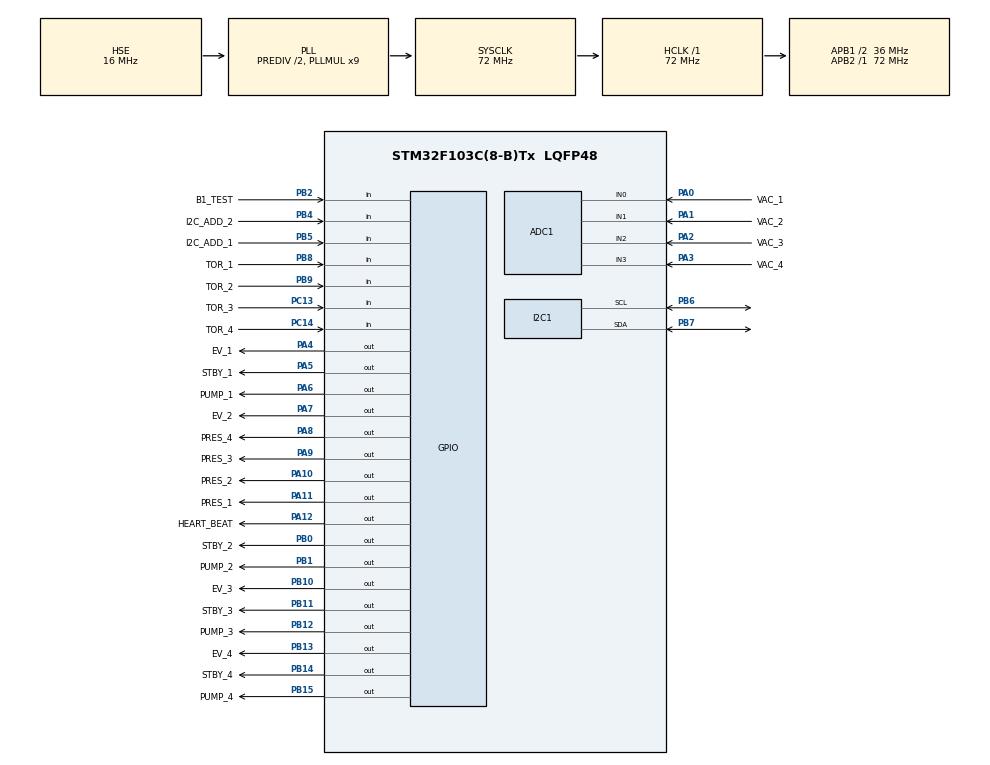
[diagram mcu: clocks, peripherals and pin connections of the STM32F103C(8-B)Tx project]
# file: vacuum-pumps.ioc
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ADC1.Channel-0\#ChannelRegularConversion=ADC_CHANNEL_0
ADC1.NbrOfConversionFlag=1
ADC1.Rank-0\#ChannelRegularConversion=1
ADC1.SamplingTime-0\#ChannelRegularConversion=ADC_SAMPLETIME_1CYCLE_5
ADC1.master=1
Dma.I2C1_RX.0.Direction=DMA_PERIPH_TO_MEMORY
Dma.I2C1_RX.0.Instance=DMA1_Channel7
Dma.I2C1_RX.0.MemDataAlignment=DMA_MDATAALIGN_BYTE
Dma.I2C1_RX.0.MemInc=DMA_MINC_ENABLE
Dma.I2C1_RX.0.Mode=DMA_NORMAL
Dma.I2C1_RX.0.PeriphDataAlignment=DMA_PDATAALIGN_BYTE
Dma.I2C1_RX.0.PeriphInc=DMA_PINC_DISABLE
Dma.I2C1_RX.0.Priority=DMA_PRIORITY_HIGH
Dma.I2C1_TX.1.Direction=DMA_MEMORY_TO_PERIPH
Dma.I2C1_TX.1.Instance=DMA1_Channel6
Dma.I2C1_TX.1.MemDataAlignment=DMA_MDATAALIGN_BYTE
Dma.I2C1_TX.1.MemInc=DMA_MINC_ENABLE
Dma.I2C1_TX.1.Mode=DMA_NORMAL
Dma.I2C1_TX.1.PeriphDataAlignment=DMA_PDATAALIGN_BYTE
Dma.I2C1_TX.1.PeriphInc=DMA_PINC_DISABLE
Dma.I2C1_TX.1.Priority=DMA_PRIORITY_HIGH
Dma.Request0=I2C1_RX
Dma.Request1=I2C1_TX
FREERTOS.Tasks01=mainTask,24,256,StartMainTask,Default,NULL,Dynamic,NULL,NULL
FREERTOS.Timers01=heartBeatTimer,heartBeatCallback,osTimerPeriodic,Default,NULL,Dynamic,NULL;ledIhmTimer,ledIhmCallback,osTimerPeriodic,Default,NULL,Dynamic,NULL
FREERTOS.configTIMER_TASK_PRIORITY=8
FREERTOS.configUSE_NEWLIB_REENTRANT=1
I2C1.DutyCycle=I2C_DUTYCYCLE_16_9
I2C1.I2C_Mode=I2C_Fast
I2C1.OwnAddress=i2cSlaveAddress
Mcu.Family=STM32F1
Mcu.Name=STM32F103C(8-B)Tx
Mcu.Package=LQFP48
Mcu.UserConstants=I2C_SLAVE_ADDRESS_BASE,0x26
NVIC.DMA1_Channel6_IRQn=true\:0\:0\:true\:false\:true\:false\:false\:true\:true
NVIC.DMA1_Channel7_IRQn=true\:0\:0\:true\:false\:true\:false\:false\:true\:true
NVIC.I2C1_ER_IRQn=true\:0\:0\:true\:false\:true\:false\:true\:true\:true
NVIC.I2C1_EV_IRQn=true\:0\:0\:true\:false\:true\:false\:true\:true\:true
NVIC.PriorityGroup=NVIC_PRIORITYGROUP_4
NVIC.TIM1_UP_IRQn=true\:0\:0\:false\:false\:true\:false\:false\:true\:true
NVIC.TimeBase=TIM1_UP_IRQn
NVIC.TimeBaseIP=TIM1
PA0-WKUP.GPIO_Label=VAC_1
PA0-WKUP.Signal=ADCx_IN0
PA1.GPIO_Label=VAC_2
PA1.Signal=ADCx_IN1
PA10.GPIO_Label=PRES_2
PA10.Signal=GPIO_Output
PA11.GPIO_Label=PRES_1
PA11.Signal=GPIO_Output
PA12.GPIO_Label=HEART_BEAT
PA12.Signal=GPIO_Output
PA13.Mode=Trace_Asynchronous_SW
PA13.Signal=SYS_JTMS-SWDIO
PA14.Mode=Trace_Asynchronous_SW
PA14.Signal=SYS_JTCK-SWCLK
PA2.GPIO_Label=VAC_3
PA2.Signal=ADCx_IN2
PA3.GPIO_Label=VAC_4
PA3.Signal=ADCx_IN3
PA4.GPIO_Label=EV_1
PA4.Signal=GPIO_Output
PA5.GPIO_Label=STBY_1
PA5.Signal=GPIO_Output
PA6.GPIO_Label=PUMP_1
PA6.Signal=GPIO_Output
PA7.GPIO_Label=EV_2
PA7.Signal=GPIO_Output
PA8.GPIO_Label=PRES_4
PA8.Signal=GPIO_Output
PA9.GPIO_Label=PRES_3
PA9.Signal=GPIO_Output
PB0.GPIO_Label=STBY_2
PB0.Signal=GPIO_Output
PB1.GPIO_Label=PUMP_2
PB1.Signal=GPIO_Output
PB10.GPIO_Label=EV_3
PB10.Signal=GPIO_Output
PB11.GPIO_Label=STBY_3
PB11.Signal=GPIO_Output
PB12.GPIO_Label=PUMP_3
PB12.Signal=GPIO_Output
PB13.GPIO_Label=EV_4
PB13.Signal=GPIO_Output
PB14.GPIO_Label=STBY_4
PB14.Signal=GPIO_Output
PB15.GPIO_Label=PUMP_4
PB15.Signal=GPIO_Output
PB2.GPIO_Label=B1_TEST
PB2.Signal=GPIO_Input
PB3.Mode=Trace_Asynchronous_SW
PB3.Signal=SYS_JTDO-TRACESWO
PB4.GPIO_Label=I2C_ADD_2
PB4.Signal=GPIO_Input
PB5.GPIO_Label=I2C_ADD_1
PB5.Signal=GPIO_Input
PB6.GPIO_Pu=GPIO_PULLUP
PB6.Mode=I2C
PB6.Signal=I2C1_SCL
PB7.GPIO_Pu=GPIO_PULLUP
PB7.Mode=I2C
PB7.Signal=I2C1_SDA
PB8.GPIO_Label=TOR_1
PB8.Signal=GPIO_Input
PB9.GPIO_Label=TOR_2
PB9.Signal=GPIO_Input
PC13-TAMPER-RTC.GPIO_Label=TOR_3
PC13-TAMPER-RTC.Signal=GPIO_Input
PC14-OSC32_IN.GPIO_Label=TOR_4
PC14-OSC32_IN.Signal=GPIO_Input
PD0-OSC_IN.Mode=HSE-External-Oscillator
PD0-OSC_IN.Signal=RCC_OSC_IN
PD1-OSC_OUT.Mode=HSE-External-Oscillator
PD1-OSC_OUT.Signal=RCC_OSC_OUT
ProjectManager.HeapSize=0x200
ProjectManager.StackSize=0x400
ProjectManager.TargetToolchain=STM32CubeIDE
RCC.ADCPresc=RCC_ADCPCLK2_DIV6
RCC.AHBFreq_Value=72000000
RCC.APB1CLKDivider=RCC_HCLK_DIV2
RCC.APB1Freq_Value=36000000
RCC.APB1TimFreq_Value=72000000
RCC.APB2Freq_Value=72000000
RCC.APB2TimFreq_Value=72000000
RCC.HCLKFreq_Value=72000000
RCC.HSEDivPLL=RCC_HSE_PREDIV_DIV2
RCC.HSE_VALUE=16000000
RCC.PLLMUL=RCC_PLL_MUL9
RCC.PLLSourceVirtual=RCC_PLLSOURCE_HSE
RCC.SYSCLKFreq_VALUE=72000000
RCC.SYSCLKSource=RCC_SYSCLKSOURCE_PLLCLK
RCC.USBFreq_Value=72000000
SH.ADCx_IN0.0=ADC1_IN0,IN0
SH.ADCx_IN1.0=ADC1_IN1,IN1
SH.ADCx_IN2.0=ADC1_IN2,IN2
SH.ADCx_IN3.0=ADC1_IN3,IN3
VP_FREERTOS_VS_CMSIS_V2.Mode=CMSIS_V2
VP_SYS_VS_tim1.Mode=TIM1
board=custom

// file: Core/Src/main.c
/* USER CODE BEGIN Header */
/**
  ******************************************************************************
  * @file           : main.c
  * @brief          : Main program body
  ******************************************************************************
  * @attention
  *
  * Copyright (c) 2023 STMicroelectronics.
  * All rights reserved.
  *
  * This software is licensed under terms that can be found in the LICENSE file
  * in the root directory of this software component.
  * If no LICENSE file comes with this software, it is provided AS-IS.
  *
  ******************************************************************************
  */
/* USER CODE END Header */
#include "main.h"
#include "cmsis_os.h"
#include "adc.h"
#include "dma.h"
#include "i2c.h"
#include "gpio.h"

/* USER CODE BEGIN Includes */
#include "itm_log.h"
/* USER CODE END Includes */

/* USER CODE BEGIN PV */
Pompe pompe1;
Pompe pompe2;
Pompe pompe3;
Pompe pompe4;

uint32_t i2cErrorCode;
/* USER CODE END PV */

void SystemClock_Config(void);
void MX_FREERTOS_Init(void);

int main(void)
{

  /* MCU Configuration--------------------------------------------------------*/

  /* Reset of all peripherals, Initializes the Flash interface and the Systick. */
  HAL_Init();

  /* USER CODE BEGIN Init */
  i2cErrorCode = HAL_I2C_ERROR_NONE;
  LOG_INFO("main: Begin Init");
  /* USER CODE END Init */

  /* Configure the system clock */
  SystemClock_Config();

  /* USER CODE BEGIN SysInit */
  LOG_INFO("main: Begin SysInit");
  /* USER CODE END SysInit */

  /* Initialize all configured peripherals */
  MX_GPIO_Init();
  MX_DMA_Init();
  MX_ADC1_Init();
  MX_I2C1_Init();
  /* USER CODE BEGIN 2 */

  LOG_INFO("main: Init default value for pumps");
  pompe1.mode = POMPE_DISABLED;
  pompe1.vacuumPresence = POMPE_VACUUM_PRESENCE;
  pompe1.vacuumOK = POMPE_VACUUM_OK;
  pompe1.vacuumNOK = POMPE_VACUUM_NOK;
  pompe2.mode = POMPE_DISABLED;
  pompe2.vacuumPresence = POMPE_VACUUM_PRESENCE;
  pompe2.vacuumOK = POMPE_VACUUM_OK;
  pompe2.vacuumNOK = POMPE_VACUUM_NOK;
  pompe3.mode = POMPE_DISABLED;
  pompe3.vacuumPresence = POMPE_VACUUM_PRESENCE;
  pompe3.vacuumOK = POMPE_VACUUM_OK;
  pompe3.vacuumNOK = POMPE_VACUUM_NOK;
  pompe4.mode = POMPE_DISABLED;
  pompe4.vacuumPresence = POMPE_VACUUM_PRESENCE;
  pompe4.vacuumOK = POMPE_VACUUM_OK;
  pompe4.vacuumNOK = POMPE_VACUUM_NOK;

  LOG_INFO("main: Start I²C listener");
  HAL_I2C_EnableListen_IT(&hi2c1);
  /* USER CODE END 2 */

  /* Init scheduler */
  osKernelInitialize();

  /* Call init function for freertos objects (in cmsis_os2.c) */
  MX_FREERTOS_Init();

  /* Start scheduler */
  osKernelStart();

  /* We should never get here as control is now taken by the scheduler */

  /* Infinite loop */
  /* USER CODE BEGIN WHILE */
#pragma clang diagnostic push
#pragma ide diagnostic ignored "EndlessLoop"
  while (1)
  {
    /* USER CODE END WHILE */

    /* USER CODE BEGIN 3 */
    LOG_WARN("main: Execution après init de FreeRTOS. Tres bizarre");
  }
#pragma clang diagnostic pop
  /* USER CODE END 3 */
}

void SystemClock_Config(void)
{
  RCC_OscInitTypeDef RCC_OscInitStruct = {0};
  RCC_ClkInitTypeDef RCC_ClkInitStruct = {0};
  RCC_PeriphCLKInitTypeDef PeriphClkInit = {0};

  /** Initializes the RCC Oscillators according to the specified parameters
  * in the RCC_OscInitTypeDef structure.
  */
  RCC_OscInitStruct.OscillatorType = RCC_OSCILLATORTYPE_HSE;
  RCC_OscInitStruct.HSEState = RCC_HSE_ON;
  RCC_OscInitStruct.HSEPredivValue = RCC_HSE_PREDIV_DIV2;
  RCC_OscInitStruct.HSIState = RCC_HSI_ON;
  RCC_OscInitStruct.PLL.PLLState = RCC_PLL_ON;
  RCC_OscInitStruct.PLL.PLLSource = RCC_PLLSOURCE_HSE;
  RCC_OscInitStruct.PLL.PLLMUL = RCC_PLL_MUL9;
  if (HAL_RCC_OscConfig(&RCC_OscInitStruct) != HAL_OK)
  {
    Error_Handler();
  }

  /** Initializes the CPU, AHB and APB buses clocks
  */
  RCC_ClkInitStruct.ClockType = RCC_CLOCKTYPE_HCLK|RCC_CLOCKTYPE_SYSCLK
                              |RCC_CLOCKTYPE_PCLK1|RCC_CLOCKTYPE_PCLK2;
  RCC_ClkInitStruct.SYSCLKSource = RCC_SYSCLKSOURCE_PLLCLK;
  RCC_ClkInitStruct.AHBCLKDivider = RCC_SYSCLK_DIV1;
  RCC_ClkInitStruct.APB1CLKDivider = RCC_HCLK_DIV2;
  RCC_ClkInitStruct.APB2CLKDivider = RCC_HCLK_DIV1;

  if (HAL_RCC_ClockConfig(&RCC_ClkInitStruct, FLASH_LATENCY_2) != HAL_OK)
  {
    Error_Handler();
  }
  PeriphClkInit.PeriphClockSelection = RCC_PERIPHCLK_ADC;
  PeriphClkInit.AdcClockSelection = RCC_ADCPCLK2_DIV6;
  if (HAL_RCCEx_PeriphCLKConfig(&PeriphClkInit) != HAL_OK)
  {
    Error_Handler();
  }
}

void HAL_TIM_PeriodElapsedCallback(TIM_HandleTypeDef *htim)
{
  if (htim->Instance == TIM1)
  {
    HAL_IncTick();
  }
}

void Error_Handler(void)
{
  /* USER CODE BEGIN Error_Handler_Debug */
  /* User can add his own implementation to report the HAL error return state */
  __disable_irq();
  LOG_ERROR("main: ERROR HANDLER");
#pragma clang diagnostic push
#pragma ide diagnostic ignored "EndlessLoop"
  while (1) {
    HAL_GPIO_WritePin(HEART_BEAT_GPIO_Port, HEART_BEAT_Pin, GPIO_PIN_RESET);
    osDelay(1000);
    for (int i = 0 ; i < 10 ; i++) {
      HAL_GPIO_TogglePin(HEART_BEAT_GPIO_Port, HEART_BEAT_Pin);
      osDelay(100);
    }
  }
#pragma clang diagnostic pop
  /* USER CODE END Error_Handler_Debug */
}

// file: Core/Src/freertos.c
/* USER CODE BEGIN Header */
/**
  ******************************************************************************
  * File Name          : freertos.c
  * Description        : Code for freertos applications
  ******************************************************************************
  * @attention
  *
  * Copyright (c) 2023 STMicroelectronics.
  * All rights reserved.
  *
  * This software is licensed under terms that can be found in the LICENSE file
  * in the root directory of this software component.
  * If no LICENSE file comes with this software, it is provided AS-IS.
  *
  ******************************************************************************
  */
/* USER CODE END Header */

#include "FreeRTOS.h"
#include "task.h"
#include "main.h"
#include "cmsis_os.h"

/* USER CODE BEGIN Includes */
#include "adc.h"
#include "itm_log.h"
/* USER CODE END Includes */

/* USER CODE BEGIN Variables */
bool ihmLedState = false;
/* USER CODE END Variables */
/* Definitions for mainTask */
osThreadId_t mainTaskHandle;
const osThreadAttr_t mainTask_attributes = {
  .name = "mainTask",
  .stack_size = 256 * 4,
  .priority = (osPriority_t) osPriorityNormal,
};
/* Definitions for heartBeatTimer */
osTimerId_t heartBeatTimerHandle;
const osTimerAttr_t heartBeatTimer_attributes = {
  .name = "heartBeatTimer"
};
/* Definitions for ledIhmTimer */
osTimerId_t ledIhmTimerHandle;
const osTimerAttr_t ledIhmTimer_attributes = {
  .name = "ledIhmTimer"
};

/* USER CODE BEGIN FunctionPrototypes */
void ihmLed(Pompe *pompe, GPIO_TypeDef *presGpioPort, uint16_t presGpioPin);

void refreshPumpState(Pompe *pompe, GPIO_TypeDef *torGpioPort, uint16_t torGpioPin, void (*adcSelect)(void));

void managePump(Pompe *pompe,
                GPIO_TypeDef *stdbyGpioPort, uint16_t stdbyGpioPin,
                GPIO_TypeDef *pumpGpioPort, uint16_t pumpGpioPin,
                GPIO_TypeDef *evGpioPort, uint16_t evGpioPin);

/* USER CODE END FunctionPrototypes */

void StartMainTask(void *argument);
void heartBeatCallback(void *argument);
void ledIhmCallback(void *argument);

void MX_FREERTOS_Init(void); /* (MISRA C 2004 rule 8.1) */

void MX_FREERTOS_Init(void) {
  /* USER CODE BEGIN Init */
  LOG_INFO("freertos: Init FreeRTOS");
  /* USER CODE END Init */

  /* Create the timer(s) */
  /* creation of heartBeatTimer */
  heartBeatTimerHandle = osTimerNew(heartBeatCallback, osTimerPeriodic, NULL, &heartBeatTimer_attributes);

  /* creation of ledIhmTimer */
  ledIhmTimerHandle = osTimerNew(ledIhmCallback, osTimerPeriodic, NULL, &ledIhmTimer_attributes);

  /* Create the thread(s) */
  /* creation of mainTask */
  mainTaskHandle = osThreadNew(StartMainTask, NULL, &mainTask_attributes);

}

void StartMainTask(void *argument)
{
  /* USER CODE BEGIN StartMainTask */
  LOG_INFO("mainTask: Start");

  // Boot animation
  HAL_GPIO_WritePin(HEART_BEAT_GPIO_Port, HEART_BEAT_Pin, GPIO_PIN_SET);
  osDelay(100);
  HAL_GPIO_WritePin(PRES_1_GPIO_Port, PRES_1_Pin, GPIO_PIN_SET);
  osDelay(100);
  HAL_GPIO_WritePin(PRES_2_GPIO_Port, PRES_2_Pin, GPIO_PIN_SET);
  osDelay(100);
  HAL_GPIO_WritePin(PRES_3_GPIO_Port, PRES_3_Pin, GPIO_PIN_SET);
  osDelay(100);
  HAL_GPIO_WritePin(PRES_4_GPIO_Port, PRES_4_Pin, GPIO_PIN_SET);
  osDelay(100);
  HAL_GPIO_WritePin(HEART_BEAT_GPIO_Port, HEART_BEAT_Pin, GPIO_PIN_RESET);
  osDelay(100);
  HAL_GPIO_WritePin(PRES_1_GPIO_Port, PRES_1_Pin, GPIO_PIN_RESET);
  osDelay(100);
  HAL_GPIO_WritePin(PRES_2_GPIO_Port, PRES_2_Pin, GPIO_PIN_RESET);
  osDelay(100);
  HAL_GPIO_WritePin(PRES_3_GPIO_Port, PRES_3_Pin, GPIO_PIN_RESET);
  osDelay(100);
  HAL_GPIO_WritePin(PRES_4_GPIO_Port, PRES_4_Pin, GPIO_PIN_RESET);
  osDelay(100);

  // Start timers after boot init
  osTimerStart(heartBeatTimerHandle, 1000);
  osTimerStart(ledIhmTimerHandle, 250);

  /* Infinite loop */
#pragma clang diagnostic push
#pragma ide diagnostic ignored "EndlessLoop"
  while (true) {
    refreshPumpState(&pompe1, TOR_1_GPIO_Port, TOR_1_Pin, adcSelectVacuostat1);
    managePump(&pompe1, STBY_1_GPIO_Port, STBY_1_Pin, PUMP_1_GPIO_Port, PUMP_1_Pin, EV_1_GPIO_Port, EV_1_Pin);

    refreshPumpState(&pompe2, TOR_2_GPIO_Port, TOR_2_Pin, adcSelectVacuostat2);
    managePump(&pompe2, STBY_2_GPIO_Port, STBY_2_Pin, PUMP_2_GPIO_Port, PUMP_2_Pin, EV_2_GPIO_Port, EV_2_Pin);

    refreshPumpState(&pompe3, TOR_3_GPIO_Port, TOR_3_Pin, adcSelectVacuostat3);
    managePump(&pompe3, STBY_3_GPIO_Port, STBY_3_Pin, PUMP_3_GPIO_Port, PUMP_3_Pin, EV_3_GPIO_Port, EV_3_Pin);

    refreshPumpState(&pompe4, TOR_4_GPIO_Port, TOR_4_Pin, adcSelectVacuostat4);
    managePump(&pompe4, STBY_4_GPIO_Port, STBY_4_Pin, PUMP_4_GPIO_Port, PUMP_4_Pin, EV_4_GPIO_Port, EV_4_Pin);

    osDelay(100);
  }
#pragma clang diagnostic pop
  /* USER CODE END StartMainTask */
}

/* heartBeatCallback function */
void heartBeatCallback(void *argument)
{
  /* USER CODE BEGIN heartBeatCallback */
  if (i2cErrorCode == HAL_I2C_ERROR_NONE) { // Pas d'erreur
    HAL_GPIO_TogglePin(HEART_BEAT_GPIO_Port, HEART_BEAT_Pin);

  } else { // Erreur I2C persistante
    HAL_GPIO_WritePin(HEART_BEAT_GPIO_Port, HEART_BEAT_Pin, GPIO_PIN_SET);
  }
  /* USER CODE END heartBeatCallback */
}

/* ledIhmCallback function */
void ledIhmCallback(void *argument)
{
  /* USER CODE BEGIN ledIhmCallback */
  ihmLed(&pompe1, PRES_1_GPIO_Port, PRES_1_Pin);
  ihmLed(&pompe2, PRES_2_GPIO_Port, PRES_2_Pin);
  ihmLed(&pompe3, PRES_3_GPIO_Port, PRES_3_Pin);
  ihmLed(&pompe4, PRES_4_GPIO_Port, PRES_4_Pin);

  ihmLedState = !ihmLedState;
  /* USER CODE END ledIhmCallback */
}

/* USER CODE BEGIN Application */
void ihmLed(Pompe *pompe, GPIO_TypeDef *presGpioPort, uint16_t presGpioPin) {
  if (pompe->mode == POMPE_ON || pompe->mode == POMPE_ON_FORCE) {
    if (pompe->presence) {
      HAL_GPIO_WritePin(presGpioPort, presGpioPin, GPIO_PIN_SET);
    } else {
      HAL_GPIO_WritePin(presGpioPort, presGpioPin, ihmLedState ? GPIO_PIN_SET : GPIO_PIN_RESET);
    }
  } else {
    HAL_GPIO_WritePin(presGpioPort, presGpioPin, GPIO_PIN_RESET);
  }
}

void refreshPumpState(Pompe *pompe, GPIO_TypeDef *torGpioPort, uint16_t torGpioPin, void (*adcSelect)(void)) {
  // Refresh du capteur TOR tous le temps
  pompe->tor = HAL_GPIO_ReadPin(torGpioPort, torGpioPin) == GPIO_PIN_RESET;

  // Refresh des infos lié au vide
  if (pompe->mode != POMPE_DISABLED) {

    adcSelect();
    HAL_ADC_Start(&hadc1);
    HAL_ADC_PollForConversion(&hadc1, 1000);
    pompe->vacuum = HAL_ADC_GetValue(&hadc1); // (HAL_ADC_GetValue(&hadc1) / ADC_RESOLUTION) * V_REF;
    HAL_ADC_Stop(&hadc1);

    pompe->presence = pompe->vacuum >= pompe->vacuumPresence;

  } else {
    pompe->presence = false;
    pompe->vacuum = 0;
  }
}

void managePump(Pompe *pompe,
                GPIO_TypeDef *stdbyGpioPort, uint16_t stdbyGpioPin,
                GPIO_TypeDef *pumpGpioPort, uint16_t pumpGpioPin,
                GPIO_TypeDef *evGpioPort, uint16_t evGpioPin) {

  // Detection du changement de mode de la pompe
  bool changeModePump = false;
  if (pompe->mode != pompe->modePrev) {
    pompe->modePrev = pompe->mode;
    changeModePump = true;
  }

  // Si le mode est disabled, on met le composant de gestion en Stand Bye
  if (pompe->mode == POMPE_DISABLED && changeModePump) {
    HAL_GPIO_WritePin(stdbyGpioPort, stdbyGpioPin, GPIO_PIN_RESET);
    HAL_GPIO_WritePin(pumpGpioPort, pumpGpioPin, GPIO_PIN_RESET);
    HAL_GPIO_WritePin(evGpioPort, evGpioPin, GPIO_PIN_RESET);

    // Si on est sur un changement de mode, du coup autre que DISABLED, on active le composant
  } else if (changeModePump) {
    HAL_GPIO_WritePin(stdbyGpioPort, stdbyGpioPin, GPIO_PIN_SET);
  }

  // Si on a une presence détectée et la pompe ON
  if (pompe->mode == POMPE_ON && pompe->tor) {
    HAL_GPIO_WritePin(evGpioPort, evGpioPin, GPIO_PIN_RESET);
    if ((pompe->vacuum < pompe->vacuumOK && HAL_GPIO_ReadPin(pumpGpioPort, pumpGpioPin) == GPIO_PIN_SET) ||
        (pompe->vacuum < pompe->vacuumNOK)) {
      HAL_GPIO_WritePin(pumpGpioPort, pumpGpioPin, GPIO_PIN_SET);
    } else {
      HAL_GPIO_WritePin(pumpGpioPort, pumpGpioPin, GPIO_PIN_RESET);
    }
  } else if (pompe->mode == POMPE_ON && !pompe->tor) {
    HAL_GPIO_WritePin(evGpioPort, evGpioPin, GPIO_PIN_RESET);
    HAL_GPIO_WritePin(pumpGpioPort, pumpGpioPin, GPIO_PIN_RESET);
  } else if (pompe->mode == POMPE_ON_FORCE) {
    HAL_GPIO_WritePin(evGpioPort, evGpioPin, GPIO_PIN_RESET);
    HAL_GPIO_WritePin(pumpGpioPort, pumpGpioPin, GPIO_PIN_SET);
  }

  // Si on est sur un changement de mode et en mode OFF, procéssus de release de l'objet en différer pour tous les
  // déclencher quasiment en même temps.
  if (pompe->mode == POMPE_OFF && changeModePump) {
    pompe->cycleDepose = 0;
  } else if (pompe->mode == POMPE_OFF && !changeModePump && pompe->cycleDepose < 20) {
    pompe->cycleDepose++;
  }

#if ASPIRATION_ON_RELEASE == 1
  // 1 incrément de cycle égale le délai d'attente entre deux exec (x 50ms)
  if (pompe->mode == POMPE_OFF && pompe->cycleDepose == 0) {
    // Cycle dépose 1 (0ms) -> Allumage pompe à vide
    HAL_GPIO_WritePin(pumpGpioPort, pumpGpioPin, GPIO_PIN_SET);
  } else if (pompe->mode == POMPE_OFF && pompe->cycleDepose == 2) {
    // Cycle dépose 2 (200ms) -> Ouverture electrovanne
    HAL_GPIO_WritePin(evGpioPort, evGpioPin, GPIO_PIN_SET);
  } else if (pompe->mode == POMPE_OFF && pompe->cycleDepose == 3) {
    // Cycle dépose 3 (300ms) -> Arret Pompe à vide
    HAL_GPIO_WritePin(pumpGpioPort, pumpGpioPin, GPIO_PIN_RESET);
  } else if (pompe->mode == POMPE_OFF && pompe->cycleDepose == 5) {
    // Cycle dépose 4 (500ms) -> Fermeture electrovanne
    HAL_GPIO_WritePin(evGpioPort, evGpioPin, GPIO_PIN_RESET);
  }
#else
  if (pompe->mode == POMPE_OFF && pompe->cycleDepose == 0) {
    // Cycle dépose 1 (0ms) -> Ouverture electrovanne + arret pompe
    HAL_GPIO_WritePin(pumpGpioPort, pumpGpioPin, GPIO_PIN_RESET);
    HAL_GPIO_WritePin(evGpioPort, evGpioPin, GPIO_PIN_SET);
  } else if (pompe->mode == POMPE_OFF && pompe->cycleDepose == 19) {
    // Cycle dépose 19 (1900ms) -> Fermeture electrovanne
    HAL_GPIO_WritePin(evGpioPort, evGpioPin, GPIO_PIN_RESET);
  }
#endif
}
/* USER CODE END Application */
